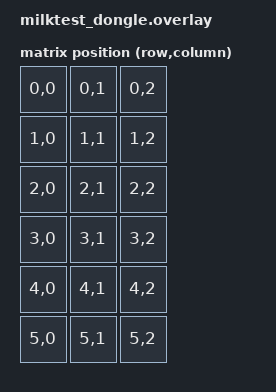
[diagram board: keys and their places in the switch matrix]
#include <dt-bindings/zmk/matrix_transform.h>

/ {
    chosen {
        zmk,kscan = &mock_kscan;
        zmk,physical-layout = &physical_layout0;  // New item added
    };

    mock_kscan: mock_kscan_0 {
        compatible = "zmk,kscan-mock";
        columns = <0>;
        rows = <0>;
        events = <0>;
    };
    default_transform: keymap_transform0 {
        compatible = "zmk,matrix-transform";
        columns = <3>; // Length of the "col-gpios" array
        rows = <6>; // Length of the "row-gpios" array
        map = <
        //   Key 0 | Key 0 | Key 1
            RC(0,0) RC(0,1) RC(0,2)
        //   Key 2 | Key 3 | Key 4
            RC(1,0) RC(1,1) RC(1,2)
        //   Key 5 | Key 6 | Key 7
            RC(2,0) RC(2,1) RC(2,2)
        //   Key 8 | Key 9 | Key A
            RC(3,0) RC(3,1) RC(3,2)
        //   Key B | Key C | Key D
            RC(4,0) RC(4,1) RC(4,2)
        //   Key E | Key F | Key G
            RC(5,0) RC(5,1) RC(5,2)
        >;
    };
};

/ {
    physical_layout0: physical_layout_0 {
        compatible = "zmk,physical-layout";
        display-name = "Default Layout";
        transform = <&default_transform>;
    };
};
